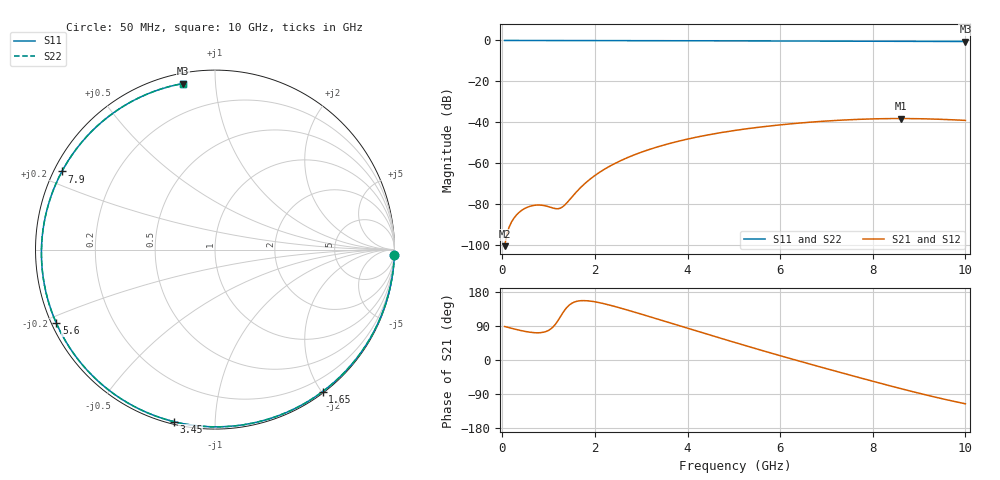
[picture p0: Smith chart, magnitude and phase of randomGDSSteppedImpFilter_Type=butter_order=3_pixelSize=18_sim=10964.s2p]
! freq	dB(S11)	phase(S11)	dB(S12)	phase(S12)
!  dB(S21)	phase(S21)	dB(S22)	phase(S22)
!S-par simulation data
#  GHz  S  DB  R 50
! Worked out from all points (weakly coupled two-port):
!   200 points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, 50 MHz to 10 GHz, reference 50 ohm
!   highest |S21| = -38.14 dB at 8.6 GHz (marker M1); lowest = -100.5 dB at 50 MHz (marker M2)
!   lowest |S11| = -0.5 dB at 10 GHz (marker M3), VSWR 33.63, Z = 2.5 + j41.3 ohm
!   |S11| at or under -10 dB: nowhere
!   |S22| runs from -0.5 to 0.0 dB; largest |S21 - S12| = 0
!   S11 on the Smith chart (normalised r, x): 50 MHz: 0, -69; 1.65 GHz: 0.02, -2.01; 3.45 GHz: 0.01, -0.79; 5.6 GHz: 0.01, -0.22; 7.9 GHz: 0.02, +0.24; 10 GHz: 0.05, +0.83
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0.05  -0.00 -1.7  -100.49 88.4  -100.49 88.4  -0.00 -1.7
0.65  -0.03 -21.3  -80.70 72.5  -80.70 72.5  -0.03 -21.3
1.35  -0.05 -43.6  -80.37 132.1  -80.37 132.1  -0.05 -43.6
1.4  -0.06 -45.2  -79.18 139.6  -79.18 139.6  -0.06 -45.2
1.65  -0.07 -52.9  -72.80 155.9  -72.80 155.9  -0.07 -52.9
1.75  -0.07 -55.9  -70.58 156.7  -70.58 156.7  -0.07 -55.9
2.05  -0.08 -64.9  -65.17 152.5  -65.17 152.5  -0.08 -64.9
2.45  -0.09 -76.4  -59.88 140.6  -59.88 140.6  -0.09 -76.4
2.9  -0.11 -88.9  -55.44 124.7  -55.44 124.7  -0.11 -88.9
3.4  -0.12 -102.2  -51.66 106.3  -51.66 106.3  -0.12 -102.2
3.45  -0.13 -103.5  -51.34 104.4  -51.34 104.4  -0.13 -103.5
4.2  -0.16 -122.4  -47.21 76.5  -47.21 76.5  -0.16 -122.3
5.05  -0.19 -142.5  -43.86 45.2  -43.86 45.2  -0.19 -142.5
5.6  -0.22 -155.1  -42.22 25.4  -42.22 25.4  -0.22 -155.1
6.15  -0.26 -167.4  -40.90 6.2  -40.90 6.2  -0.26 -167.4
6.7  -0.29 -179.8  -39.83 -12.7  -39.83 -12.7  -0.29 -179.8
7.3  -0.33 166.7  -38.95 -32.9  -38.95 -32.9  -0.33 166.7
7.9  -0.38 152.9  -38.38 -52.8  -38.38 -52.8  -0.38 152.9
8.35  -0.41 142.3  -38.17 -67.4  -38.17 -67.4  -0.41 142.3
8.6  -0.43 136.3  -38.14 -75.4  -38.14 -75.4  -0.43 136.3
9.35  -0.48 117.8  -38.43 -98.0  -38.43 -98.0  -0.48 117.7
10  -0.52 100.9  -39.05 -115.6  -39.05 -115.6  -0.52 100.9
